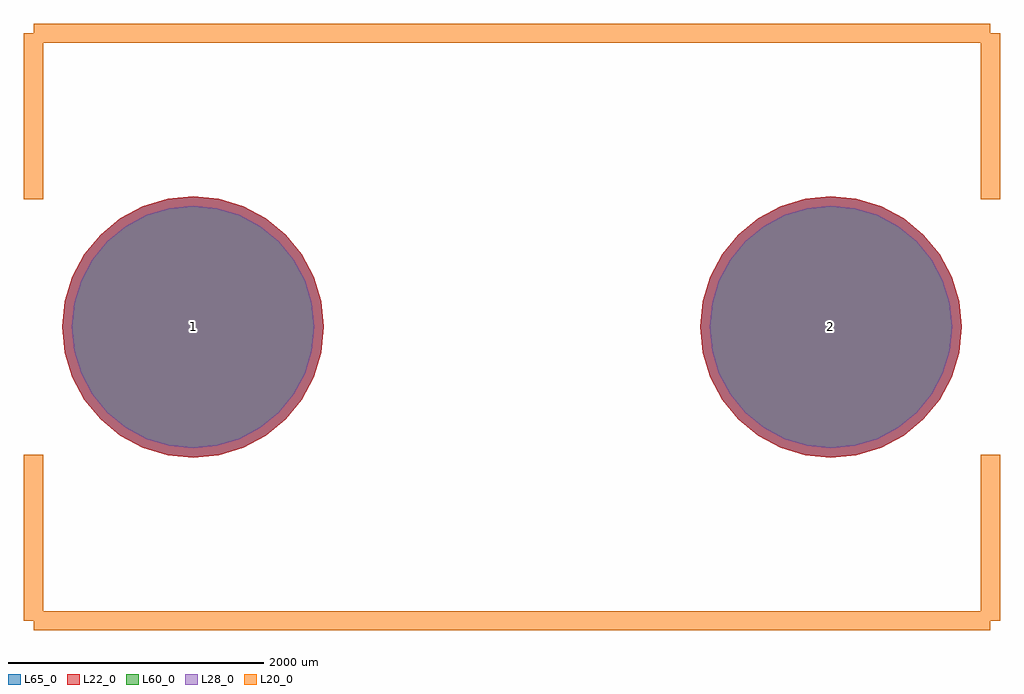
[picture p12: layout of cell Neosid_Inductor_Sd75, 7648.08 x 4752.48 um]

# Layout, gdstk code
import gdstk
lib = gdstk.Library(unit=1e-6, precision=1e-09)
def P(c, l, *ps):  # polygons
    for p in ps: c.add(gdstk.Polygon(p, *l))
L20_0 = (20, 0)
L22_0 = (22, 0)
L28_0 = (28, 0)
L60_0 = (60, 0)
L65_0 = (65, 0)

neosid_inductor_sd75 = lib.new_cell('Neosid_Inductor_Sd75')
P(neosid_inductor_sd75, L22_0, [(-1474.4,0),(-1494.094,199.96),(-1552.42,392.235),(-1647.137,569.437),(-1774.604,724.756),(-1929.923,852.223),(-2107.125,946.94),(-2299.4,1005.266),(-2499.36,1024.96),(-2699.32,1005.266),(-2891.595,946.94),(-3068.797,852.223),(-3224.116,724.756),(-3351.583,569.437),(-3446.3,392.235),(-3504.626,199.96),(-3524.32,0),(-3504.626,-199.96),(-3446.3,-392.235),(-3351.583,-569.437),(-3224.116,-724.756),(-3068.797,-852.223),(-2891.595,-946.94),(-2699.32,-1005.266),(-2499.36,-1024.96),(-2299.4,-1005.266),(-2107.125,-946.94),(-1929.923,-852.223),(-1774.604,-724.756),(-1647.137,-569.437),(-1552.42,-392.235),(-1494.094,-199.96)],
  [(3524.32,0),(3504.626,199.96),(3446.3,392.235),(3351.583,569.437),(3224.116,724.756),(3068.797,852.223),(2891.595,946.94),(2699.32,1005.266),(2499.36,1024.96),(2299.4,1005.266),(2107.125,946.94),(1929.923,852.223),(1774.604,724.756),(1647.137,569.437),(1552.42,392.235),(1494.094,199.96),(1474.4,0),(1494.094,-199.96),(1552.42,-392.235),(1647.137,-569.437),(1774.604,-724.756),(1929.923,-852.223),(2107.125,-946.94),(2299.4,-1005.266),(2499.36,-1024.96),(2699.32,-1005.266),(2891.595,-946.94),(3068.797,-852.223),(3224.116,-724.756),(3351.583,-569.437),(3446.3,-392.235),(3504.626,-199.96)])
P(neosid_inductor_sd75, L28_0, [(-1549.4,0),(-1567.653,185.328),(-1621.711,363.534),(-1709.497,527.769),(-1827.637,671.723),(-1971.591,789.863),(-2135.826,877.649),(-2314.032,931.707),(-2499.36,949.96),(-2684.688,931.707),(-2862.894,877.649),(-3027.129,789.863),(-3171.083,671.723),(-3289.223,527.769),(-3377.009,363.534),(-3431.067,185.328),(-3449.32,0),(-3431.067,-185.328),(-3377.009,-363.534),(-3289.223,-527.769),(-3171.083,-671.723),(-3027.129,-789.863),(-2862.894,-877.649),(-2684.688,-931.707),(-2499.36,-949.96),(-2314.032,-931.707),(-2135.826,-877.649),(-1971.591,-789.863),(-1827.637,-671.723),(-1709.497,-527.769),(-1621.711,-363.534),(-1567.653,-185.328)],
  [(3449.32,0),(3431.067,185.328),(3377.009,363.534),(3289.223,527.769),(3171.083,671.723),(3027.129,789.863),(2862.894,877.649),(2684.688,931.707),(2499.36,949.96),(2314.032,931.707),(2135.826,877.649),(1971.591,789.863),(1827.637,671.723),(1709.497,527.769),(1621.711,363.534),(1567.653,185.328),(1549.4,0),(1567.653,-185.328),(1621.711,-363.534),(1709.497,-527.769),(1827.637,-671.723),(1971.591,-789.863),(2135.826,-877.649),(2314.032,-931.707),(2499.36,-949.96),(2684.688,-931.707),(2862.894,-877.649),(3027.129,-789.863),(3171.083,-671.723),(3289.223,-527.769),(3377.009,-363.534),(3431.067,-185.328)])
P(neosid_inductor_sd75, L60_0, [(-1549.4,0),(-1567.653,185.328),(-1621.711,363.534),(-1709.497,527.769),(-1827.637,671.723),(-1971.591,789.863),(-2135.826,877.649),(-2314.032,931.707),(-2499.36,949.96),(-2684.688,931.707),(-2862.894,877.649),(-3027.129,789.863),(-3171.083,671.723),(-3289.223,527.769),(-3377.009,363.534),(-3431.067,185.328),(-3449.32,0),(-3431.067,-185.328),(-3377.009,-363.534),(-3289.223,-527.769),(-3171.083,-671.723),(-3027.129,-789.863),(-2862.894,-877.649),(-2684.688,-931.707),(-2499.36,-949.96),(-2314.032,-931.707),(-2135.826,-877.649),(-1971.591,-789.863),(-1827.637,-671.723),(-1709.497,-527.769),(-1621.711,-363.534),(-1567.653,-185.328)],
  [(3449.32,0),(3431.067,185.328),(3377.009,363.534),(3289.223,527.769),(3171.083,671.723),(3027.129,789.863),(2862.894,877.649),(2684.688,931.707),(2499.36,949.96),(2314.032,931.707),(2135.826,877.649),(1971.591,789.863),(1827.637,671.723),(1709.497,527.769),(1621.711,363.534),(1567.653,185.328),(1549.4,0),(1567.653,-185.328),(1621.711,-363.534),(1709.497,-527.769),(1827.637,-671.723),(1971.591,-789.863),(2135.826,-877.649),(2314.032,-931.707),(2499.36,-949.96),(2684.688,-931.707),(2862.894,-877.649),(3027.129,-789.863),(3171.083,-671.723),(3289.223,-527.769),(3377.009,-363.534),(3431.067,-185.328)])
P(neosid_inductor_sd75, L65_0, [(-1474.4,0),(-1494.094,199.96),(-1552.42,392.235),(-1647.137,569.437),(-1774.604,724.756),(-1929.923,852.223),(-2107.125,946.94),(-2299.4,1005.266),(-2499.36,1024.96),(-2699.32,1005.266),(-2891.595,946.94),(-3068.797,852.223),(-3224.116,724.756),(-3351.583,569.437),(-3446.3,392.235),(-3504.626,199.96),(-3524.32,0),(-3504.626,-199.96),(-3446.3,-392.235),(-3351.583,-569.437),(-3224.116,-724.756),(-3068.797,-852.223),(-2891.595,-946.94),(-2699.32,-1005.266),(-2499.36,-1024.96),(-2299.4,-1005.266),(-2107.125,-946.94),(-1929.923,-852.223),(-1774.604,-724.756),(-1647.137,-569.437),(-1552.42,-392.235),(-1494.094,-199.96)],
  [(3524.32,0),(3504.626,199.96),(3446.3,392.235),(3351.583,569.437),(3224.116,724.756),(3068.797,852.223),(2891.595,946.94),(2699.32,1005.266),(2499.36,1024.96),(2299.4,1005.266),(2107.125,946.94),(1929.923,852.223),(1774.604,724.756),(1647.137,569.437),(1552.42,392.235),(1494.094,199.96),(1474.4,0),(1494.094,-199.96),(1552.42,-392.235),(1647.137,-569.437),(1774.604,-724.756),(1929.923,-852.223),(2107.125,-946.94),(2299.4,-1005.266),(2499.36,-1024.96),(2699.32,-1005.266),(2891.595,-946.94),(3068.797,-852.223),(3224.116,-724.756),(3351.583,-569.437),(3446.3,-392.235),(3504.626,-199.96)])
neosid_inductor_sd75.add(gdstk.FlexPath([(-3749.04,2301.24),(-3749.04,1000.76)], 149.998, ends="flush", simple_path=True, layer=20, datatype=0))  # L20_0
neosid_inductor_sd75.add(gdstk.FlexPath([(3749.04,2301.24),(-3749.04,2301.24)], 149.998, ends="flush", simple_path=True, layer=20, datatype=0))  # L20_0
neosid_inductor_sd75.add(gdstk.FlexPath([(3749.04,2301.24),(3749.04,1000.76)], 149.998, ends="flush", simple_path=True, layer=20, datatype=0))  # L20_0
neosid_inductor_sd75.add(gdstk.FlexPath([(3749.04,-2301.24),(-3749.04,-2301.24)], 149.998, ends="flush", simple_path=True, layer=20, datatype=0))  # L20_0
neosid_inductor_sd75.add(gdstk.FlexPath([(3749.04,-1000.76),(3749.04,-2301.24)], 149.998, ends="flush", simple_path=True, layer=20, datatype=0))  # L20_0
neosid_inductor_sd75.add(gdstk.FlexPath([(-3749.04,-1000.76),(-3749.04,-2301.24)], 149.998, ends="flush", simple_path=True, layer=20, datatype=0))  # L20_0
neosid_inductor_sd75.add(gdstk.Label('1', (-2499.36,0), layer=28, texttype=0))
neosid_inductor_sd75.add(gdstk.Label('2', (2499.36,0), layer=28, texttype=0))
neosid_inductor_sd75.add(gdstk.Label('type', (149.86,-4048.76), layer=9, texttype=0))
neosid_inductor_sd75.add(gdstk.Label('devicename', (50.8,4300.22), layer=9, texttype=0))

lib.write_gds('Neosid_Inductor_Sd75.gds')
